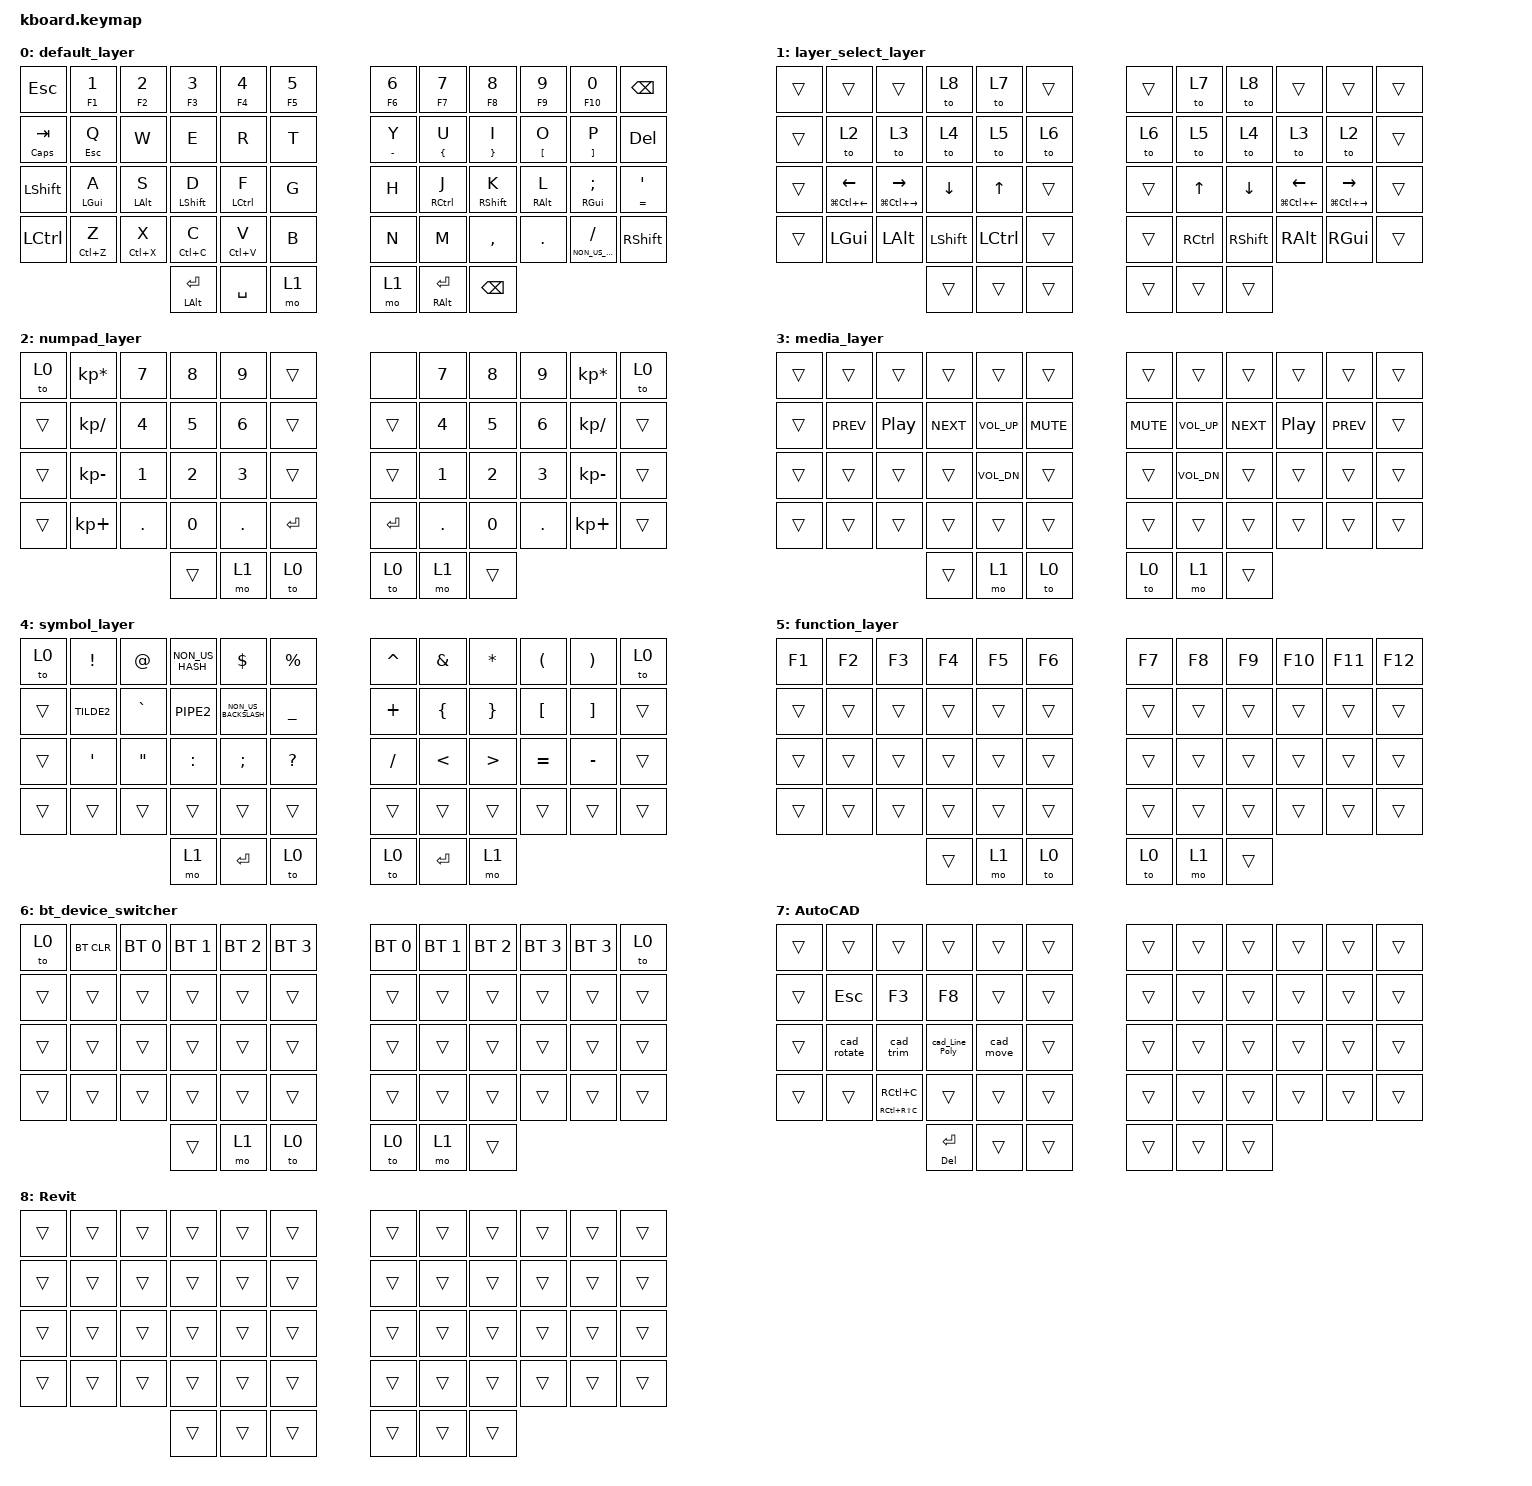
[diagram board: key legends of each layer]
/*
 * Copyright (c) 2020 The ZMK Contributors
 *
 * SPDX-License-Identifier: MIT
 */

#include <behaviors.dtsi>
#include <dt-bindings/zmk/bt.h>
#include <dt-bindings/zmk/keys.h>

&mt {
    flavor = "tap-preferred";
    quick-tap-ms = <150>;
};

/ {
    macros {
        cad_move: cad_move {
            compatible = "zmk,behavior-macro";
            #binding-cells = <0>;
            bindings = <&kp M &kp RET>;
            label = "CAD_MOVE";
        };

        cad_trim: cad_copy_with_base {
            compatible = "zmk,behavior-macro";
            #binding-cells = <0>;
            bindings = <&kp T &kp R &kp RET>;
            label = "CAD_COPY_WITH_BASE";
        };

        cad_Line_Poly: cad_Line_Poly {
            compatible = "zmk,behavior-macro";
            #binding-cells = <0>;
            bindings =
                <&macro_tap>,
                <&kp L &kp RET>,
                <&macro_press>,
                <&kp P &kp O &kp L &kp Y &kp RET>;

            label = "CAD_LINE_POLY";
        };

        cad_rotate: cad_rotate {
            compatible = "zmk,behavior-macro";
            #binding-cells = <0>;
            bindings = <&kp R &kp O &kp T &kp RET>;
            label = "CAD_ROTATE";
        };
    };

    keymap {
        compatible = "zmk,keymap";

        default_layer {
            // Default Layer (Layer 0)

            bindings = <
&kp ESC       &mt F1 N1       &mt F2 N2       &mt F3 N3           &mt F4 N4           &mt F5 N5         &mt F6 N6            &mt F7 N7            &mt F8 N8          &mt F9 N9           &mt F10 N0            &kp BSPC
&mt CAPS TAB  &mt ESC Q       &kp W           &kp E               &kp R               &kp T             &mt MINUS Y          &mt LEFT_BRACE U     &mt RIGHT_BRACE I  &mt LEFT_BRACKET O  &mt RIGHT_BRACKET P   &kp DEL
&kp LSHFT     &mt LEFT_GUI A  &mt LEFT_ALT S  &mt LEFT_SHIFT D    &mt LEFT_CONTROL F  &kp G             &kp H                &mt RIGHT_CONTROL J  &mt RIGHT_SHIFT K  &mt RIGHT_ALT L     &mt RIGHT_GUI SEMI    &mt EQUAL SQT
&kp LCTRL     &mt LC(Z) Z     &mt LC(X) X     &mt LC(C) C         &mt LC(V) V         &kp B             &kp N                &kp M                &kp COMMA          &kp DOT             &mt NON_US_BSLH FSLH  &kp RSHFT
                                              &mt LEFT_ALT ENTER  &kp SPACE           &mo 1      &mo 1  &mt RIGHT_ALT ENTER  &kp BACKSPACE
            >;
        };

        layer_select_layer {
            // Layer Select Layer (Layer 1)

            bindings = <
&trans  &trans                             &trans                               &to 8           &to 7             &trans          &trans  &to 7              &to 8            &trans                             &trans                               &trans
&trans  &to 2                              &to 3                                &to 4           &to 5             &to 6           &to 6   &to 5              &to 4            &to 3                              &to 2                                &trans
&trans  &mt LG(LC(LEFT_ARROW)) LEFT_ARROW  &mt LG(LC(RIGHT_ARROW)) RIGHT_ARROW  &kp DOWN_ARROW  &kp UP_ARROW      &trans          &trans  &kp UP_ARROW       &kp DOWN_ARROW   &mt LG(LC(LEFT_ARROW)) LEFT_ARROW  &mt LG(LC(RIGHT_ARROW)) RIGHT_ARROW  &trans
&trans  &kp LEFT_GUI                       &kp LEFT_ALT                         &kp LEFT_SHIFT  &kp LEFT_CONTROL  &trans          &trans  &kp RIGHT_CONTROL  &kp RIGHT_SHIFT  &kp RIGHT_ALT                      &kp RIGHT_GUI                        &trans
                                                                                &trans          &trans            &trans  &trans  &trans  &trans
            >;
        };

        numpad_layer {
            // Numpad Layer (Layer 2)

            bindings = <
&to 0   &kp KP_MULTIPLY  &kp N7   &kp N8  &kp N9   &trans            &none      &kp N7   &kp N8  &kp N9   &kp KP_MULTIPLY  &to 0
&trans  &kp KP_DIVIDE    &kp N4   &kp N5  &kp N6   &trans            &trans     &kp N4   &kp N5  &kp N6   &kp KP_DIVIDE    &trans
&trans  &kp KP_SUBTRACT  &kp N1   &kp N2  &kp N3   &trans            &trans     &kp N1   &kp N2  &kp N3   &kp KP_SUBTRACT  &trans
&trans  &kp KP_PLUS      &kp DOT  &kp N0  &kp DOT  &kp ENTER         &kp ENTER  &kp DOT  &kp N0  &kp DOT  &kp KP_PLUS      &trans
                                  &trans  &mo 1    &to 0      &to 0  &mo 1      &trans
            >;
        };

        media_layer {
            // Media Layer (Layer 3)

            bindings = <
&trans  &trans      &trans            &trans      &trans        &trans             &trans      &trans        &trans      &trans            &trans      &trans
&trans  &kp C_PREV  &kp C_PLAY_PAUSE  &kp C_NEXT  &kp C_VOL_UP  &kp C_MUTE         &kp C_MUTE  &kp C_VOL_UP  &kp C_NEXT  &kp C_PLAY_PAUSE  &kp C_PREV  &trans
&trans  &trans      &trans            &trans      &kp C_VOL_DN  &trans             &trans      &kp C_VOL_DN  &trans      &trans            &trans      &trans
&trans  &trans      &trans            &trans      &trans        &trans             &trans      &trans        &trans      &trans            &trans      &trans
                                      &trans      &mo 1         &to 0       &to 0  &mo 1       &trans
            >;
        };

        symbol_layer {
            // Symbol Layer (Layer 4)

            bindings = <
&to 0   &kp EXCL    &kp AT     &kp NON_US_HASH  &kp DOLLAR            &kp PERCENT          &kp CARET  &kp AMPS        &kp ASTRK         &kp LPAR   &kp RPAR   &to 0
&trans  &kp TILDE2  &kp GRAVE  &kp PIPE2        &kp NON_US_BACKSLASH  &kp UNDER            &kp PLUS   &kp LEFT_BRACE  &kp RIGHT_BRACE   &kp LBKT   &kp RBKT   &trans
&trans  &kp SQT     &kp DQT    &kp COLON        &kp SEMI              &kp QUESTION         &kp FSLH   &kp LESS_THAN   &kp GREATER_THAN  &kp EQUAL  &kp MINUS  &trans
&trans  &trans      &trans     &trans           &trans                &trans               &trans     &trans          &trans            &trans     &trans     &trans
                               &mo 1            &kp ENTER             &to 0         &to 0  &kp ENTER  &mo 1
            >;
        };

        function_layer {
            // Function Layer (Layer 5)

            bindings = <
&kp F1  &kp F2  &kp F3  &kp F4  &kp F5  &kp F6         &kp F7  &kp F8  &kp F9  &kp F10  &kp F11  &kp F12
&trans  &trans  &trans  &trans  &trans  &trans         &trans  &trans  &trans  &trans   &trans   &trans
&trans  &trans  &trans  &trans  &trans  &trans         &trans  &trans  &trans  &trans   &trans   &trans
&trans  &trans  &trans  &trans  &trans  &trans         &trans  &trans  &trans  &trans   &trans   &trans
                        &trans  &mo 1   &to 0   &to 0  &mo 1   &trans
            >;
        };

        bt_device_switcher {
            // BT Device Switcher Layer (Layer 6)

            bindings = <
&to 0   &bt BT_CLR  &bt BT_SEL 0  &bt BT_SEL 1  &bt BT_SEL 2  &bt BT_SEL 3         &bt BT_SEL 0  &bt BT_SEL 1  &bt BT_SEL 2  &bt BT_SEL 3  &bt BT_SEL 3  &to 0
&trans  &trans      &trans        &trans        &trans        &trans               &trans        &trans        &trans        &trans        &trans        &trans
&trans  &trans      &trans        &trans        &trans        &trans               &trans        &trans        &trans        &trans        &trans        &trans
&trans  &trans      &trans        &trans        &trans        &trans               &trans        &trans        &trans        &trans        &trans        &trans
                                  &trans        &mo 1         &to 0         &to 0  &mo 1         &trans
            >;
        };

        AutoCAD {
            bindings = <
&trans  &trans       &trans               &trans          &trans     &trans          &trans  &trans  &trans  &trans  &trans  &trans
&trans  &kp ESCAPE   &kp F3               &kp F8          &trans     &trans          &trans  &trans  &trans  &trans  &trans  &trans
&trans  &cad_rotate  &cad_trim            &cad_Line_Poly  &cad_move  &trans          &trans  &trans  &trans  &trans  &trans  &trans
&trans  &trans       &mt RC(RS(C)) RC(C)  &trans          &trans     &trans          &trans  &trans  &trans  &trans  &trans  &trans
                                          &mt DEL ENTER   &trans     &trans  &trans  &trans  &trans
            >;
        };

        Revit {
            bindings = <
&trans  &trans  &trans  &trans  &trans  &trans          &trans  &trans  &trans  &trans  &trans  &trans
&trans  &trans  &trans  &trans  &trans  &trans          &trans  &trans  &trans  &trans  &trans  &trans
&trans  &trans  &trans  &trans  &trans  &trans          &trans  &trans  &trans  &trans  &trans  &trans
&trans  &trans  &trans  &trans  &trans  &trans          &trans  &trans  &trans  &trans  &trans  &trans
                        &trans  &trans  &trans  &trans  &trans  &trans
            >;
        };
    };
};
